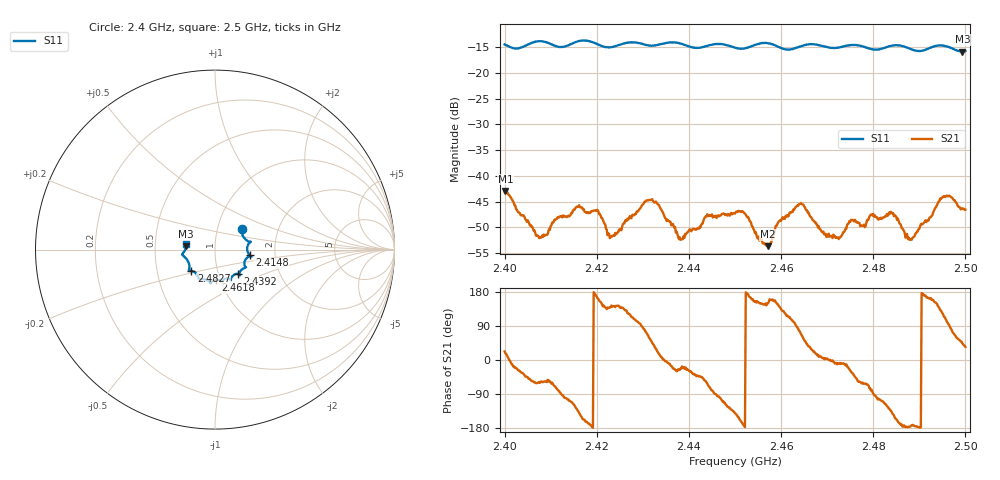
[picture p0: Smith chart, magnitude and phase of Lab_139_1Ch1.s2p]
# Hz S RI R 50
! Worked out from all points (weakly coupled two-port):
!   601 points, 2.4 GHz to 2.5 GHz, reference 50 ohm
!   highest |S21| = -42.94 dB at 2.4002 GHz (marker M1); lowest = -53.7 dB at 2.4572 GHz (marker M2)
!   lowest |S11| = -15.8 dB at 2.4993 GHz (marker M3), VSWR 1.39, Z = 36.1 + j1.46 ohm
!   |S11| at or under -10 dB: start of sweep to end of sweep
!   S12 and S22 are empty: the file has one direction only
!   S11 on the Smith chart (normalised r, x): 2.4 GHz: 1.31, +0.31; 2.4148 GHz: 1.47, -0.10; 2.4392 GHz: 1.24, -0.35; 2.4618 GHz: 0.96, -0.33; 2.4827 GHz: 0.75, -0.18; 2.5 GHz: 0.72, +0.05
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2.4e9  0.1506 0.1158  0.00644 0.00268  0 0  0 0
2.400167e9  0.1501 0.1134  0.00679 0.00219  0 0  0 0
2.4075e9  0.1996 0.0438  0.00132 -0.0021  0 0  0 0
2.414833e9  0.1928 -0.031  -0.00195 -0.00415  0 0  0 0
2.416667e9  0.2032 -0.0396  -0.00422 -0.00251  0 0  0 0
2.420167e9  0.1866 -0.0401  -0.00446 0.00139  0 0  0 0
2.423333e9  0.1637 -0.073  -0.00202 0.00166  0 0  0 0
2.430667e9  0.1539 -0.1081  0.00161 0.00548  0 0  0 0
2.433333e9  0.1366 -0.13  0.00495 0.00173  0 0  0 0
2.439167e9  0.1286 -0.136  0.00249 -0.0011  0 0  0 0
2.45e9  0.0709 -0.162  -0.00328 -0.00277  0 0  0 0
2.457167e9  0.044 -0.1906  -0.00178 0.00105  0 0  0 0
2.461833e9  0.00605 -0.1694  -0.00175 0.00402  0 0  0 0
2.464333e9  -0.0214 -0.1817  0.00205 0.00503  0 0  0 0
2.466667e9  -0.0259 -0.1895  0.00344 0.00177  0 0  0 0
2.472333e9  -0.0632 -0.165  0.00249 -0.000372  0 0  0 0
2.482667e9  -0.1326 -0.1179  -0.00179 -0.00367  0 0  0 0
2.483333e9  -0.1384 -0.1175  -0.00255 -0.00334  0 0  0 0
2.488e9  -0.1424 -0.097  -0.00243 -0.000172  0 0  0 0
2.495e9  -0.1838 -0.0258  -0.00342 0.00511  0 0  0 0
2.499333e9  -0.1609 0.0196  0.00345 0.0033  0 0  0 0
2.5e9  -0.1606 0.0314  0.00386 0.00266  0 0  0 0
